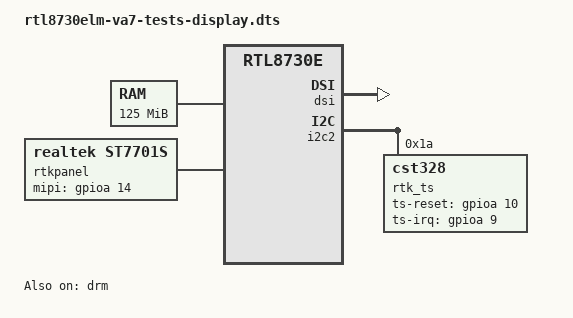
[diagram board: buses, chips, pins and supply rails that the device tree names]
// SPDX-License-Identifier: GPL-2.0-only
/*
* Realtek DTS for display test
*
* Copyright (C) 2023, Realtek Corporation. All rights reserved.
*/

/dts-v1/;

#include "rtl8730e.dtsi"
#include "rtl8730e-spi-nand-128m.dtsi"
#include "rtl8730e-drm.dtsi"

/ {
	memory {
		device_type = "memory";
		// DRAM base address should be 1MB-aligned.
		reg = <0x60300000 0x7D00000>;  // 128MB -- exclude 3MB secure memory
	};
	reserved-memory {
		#address-cells = <1>;
		#size-cells = <1>;
		ranges;
		// reserver 32M mem for drm graphics , from 0x61000000 to 0x63000000
		mem_drm_reserved: drm_buffer@0x61000000 {
			compatible = "shared-dma-pool";
			no-map;
			reg = <0x61000000 0x2000000>;
			//linux,cma-default;
		};
	};
};

// Configure peripherals, avoid pinmux conflicts.


&drm {
	status = "okay";
};

&dsi {
	status = "okay";
};

&rtkpanel {
	compatible = "realtek,st7701s";
	pinctrl-names="default";
	pinctrl-0 = <&drm_disable_swd_pins>;
	mipi-gpios = <&gpioa 14 0>;
	status = "okay";
	display-timings {
		native-mode = <&timing0>;
        timing0: timing0 {
			// 480x800 @ 60Hz 2-lanes (typical)
			clock-frequency = <164505600>; // (frame-rate * htotal * vtotal * rgb-bpp) / (2 * lane-num)
			hactive = <480>;
			hfront-porch = <30>;
			hback-porch = <30>;
			hsync-len = <4>;
			vactive = <800>;
			vfront-porch = <15>;
			vback-porch = <20>;
			vsync-len = <5>;
		};
	};
};

&i2c0{
	pinctrl-names = "default";
	pinctrl-0 = <&i2c0_pins>;
	status = "disabled";
};

&i2c1{
	pinctrl-names = "default";
	pinctrl-0 = <&i2c1_pins>;
	status = "disabled";
};

&i2c2{
	#address-cells = <1>;
	#size-cells = <0>;
	pinctrl-names = "default";
	pinctrl-0 = <&i2c2_pins>;
	status = "okay";

	gt9xx@5d {
		compatible = "goodix,gt9xx";
		reg = <0x5d>;
		status = "disabled";
		interrupt-parent = <&gpioa>;
		interrupts = <9 0x2800>;
		pinctrl-names = "default", "int-output-low","int-output-high", "int-input";
		pinctrl-0 = <&ts_int_default>;
		pinctrl-1 = <&ts_int_output_low>;
		pinctrl-2 = <&ts_int_output_high>;
		pinctrl-3 = <&ts_int_input>;

		reset-gpios = <&gpioa 10 0x0>;
		irq-gpios = <&gpioa 9 0x2800>;
		irq-flags = <2>;

		touchscreen-max-id = <11>;
		touchscreen-size-x = <1080>;
		touchscreen-size-y = <1920>;
		touchscreen-max-w = <512>;
		touchscreen-max-p = <512>;
		touchscreen-key-map = <172>, <158>; /* KEY_HOMEPAGE=172, KEY_BACK=158，KEY_MENU=139 */

		goodix,slide-wakeup = <0>;
		goodix,type-a-report = <0>;
		goodix,driver-send-cfg = <0>;
		goodix,resume-in-workqueue = <0>;
		goodix,int-sync = <1>;
		goodix,swap-x2y = <0>;
		goodix,esd-protect = <1>;
		goodix,auto-update-cfg = <0>;
		oodix,auto-update = <0>;
		goodix,power-off-sleep = <0>;
		goodix,pen-suppress-finger = <0>;
		goodix,cfg-group0 = [
			53 D0 02 00 05 05 F5 D5 21 48 2D 0F 5A 41 0E 05 00 00 32 32 20 00 05 14 14 1A 14 8B 2B 00
		];
	};

	rtk_ts@1a {
		compatible = "cst328";
		reg = <0x1a>;
		ts-reset-gpios = <&gpioa 10 0>;
		ts-irq-gpios = <&gpioa 9 0>;
		max-touch-number = <5>;
		ts-display-coords = <480 800>;
		status = "okay";
	};

};

